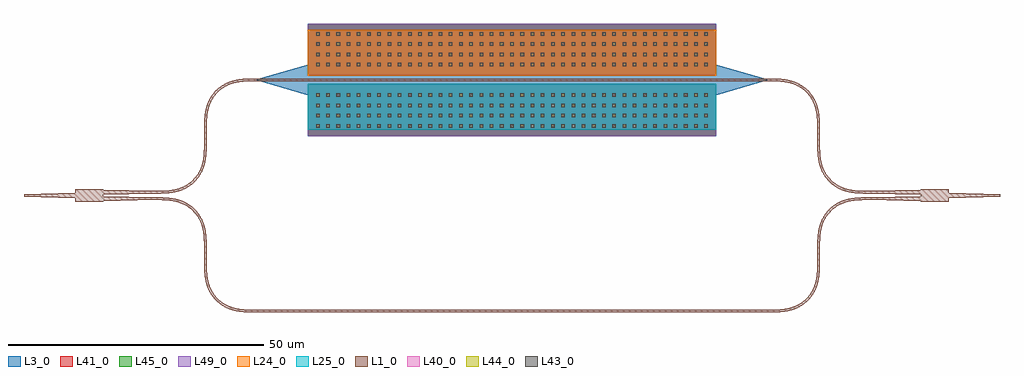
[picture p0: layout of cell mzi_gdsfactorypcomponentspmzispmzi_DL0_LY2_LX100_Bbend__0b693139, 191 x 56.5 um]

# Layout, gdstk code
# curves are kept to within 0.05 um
from math import pi, radians
import gdstk
lib = gdstk.Library(unit=1e-6, precision=1e-09)
def R(c, l, rs):  # rectangles x0, y0, x1, y1
    for r in rs: c.add(gdstk.rectangle(r[:2], r[2:], *l))
def P(c, l, *ps):  # polygons
    for p in ps: c.add(gdstk.Polygon(p, *l))
L1_0 = (1, 0)
L3_0 = (3, 0)
L24_0 = (24, 0)
L25_0 = (25, 0)
L40_0 = (40, 0)
L41_0 = (41, 0)
L43_0 = (43, 0)
L44_0 = (44, 0)
L45_0 = (45, 0)
L49_0 = (49, 0)

mmi1x2_gdsfactorypcompon = lib.new_cell('mmi1x2_gdsfactorypcomponentspmmispmmi1x2_WNone_WT1_LT10_1f097353')
P(mmi1x2_gdsfactorypcompon, L1_0, [(0,-1.25),(0,-0.5),(-10,-0.25),(-10,0.25),(0,0.5),(0,1.25),(5.5,1.25),(5.5,1.125),(15.5,0.875),(15.5,0.375),(5.5,0.125),(5.5,-0.125),(15.5,-0.375),(15.5,-0.875),(5.5,-1.125),(5.5,-1.25)])

bend_euler_gdsfactorypco = lib.new_cell('bend_euler_gdsfactorypcomponentspbendspbend_euler_RNone_387600b2')
P(bend_euler_gdsfactorypco, L1_0, [(0,-0.25),(0,0.25),(2.881,0.353),(3.952,0.52),(4.99,0.806),(6.431,1.505),(7.575,2.425),(8.495,3.569),(9.194,5.01),(9.48,6.048),(9.647,7.119),(9.75,10),(10.25,10),(10.158,7.205),(9.797,5.254),(9.457,4.312),(9.066,3.545),(8.5,2.715),(7.928,2.072),(7.285,1.5),(6.455,0.934),(5.688,0.543),(4.746,0.203),(2.795,-0.158)])

straight_gdsfactorypcomp = lib.new_cell('straight_gdsfactorypcomponentspwaveguidespstraight_L2_N_815d3d03')
R(straight_gdsfactorypcomp, L1_0, [(0,-0.25,2,0.25)])

c_straight_gdsfactorypcomp = lib.new_cell('straight_gdsfactorypcomponentspwaveguidespstraight_L80__dc82c60b')
R(c_straight_gdsfactorypcomp, L1_0, [(0,-0.25,80,0.25)])
R(c_straight_gdsfactorypcomp, L3_0, [(0,-10,80,10)])
R(c_straight_gdsfactorypcomp, L24_0, [(0,0.8,80,9.8)])
R(c_straight_gdsfactorypcomp, L25_0, [(0,-9.8,80,-0.8)])

taper_strip_to_ridge_gds = lib.new_cell('taper_strip_to_ridge_gdsfactorypcomponentsptapersptaper_eb2ac5f7')
R(taper_strip_to_ridge_gds, L1_0, [(0,-0.25,10,0.25)])
P(taper_strip_to_ridge_gds, L3_0, [(10,-3),(0,-0.075),(0,0.075),(10,3)])

compass_gdsfactorypcompo = lib.new_cell('compass_gdsfactorypcomponentspshapespcompass_S80_10_LSL_c8934731')
R(compass_gdsfactorypcompo, L3_0, [(-40,-5,40,5)])

c_compass_gdsfactorypcompo = lib.new_cell('compass_gdsfactorypcomponentspshapespcompass_S80_10_LM1_8a55a1f4')
R(c_compass_gdsfactorypcompo, L41_0, [(-40,-5,40,5)])

c_compass_gdsfactorypcompo_ = lib.new_cell('compass_gdsfactorypcomponentspshapespcompass_S80_10_LM2_11dd617a')
R(c_compass_gdsfactorypcompo_, L45_0, [(-40,-5,40,5)])

c_compass_gdsfactorypcompo__ = lib.new_cell('compass_gdsfactorypcomponentspshapespcompass_S80_10_LM3_3799dbca')
R(c_compass_gdsfactorypcompo__, L49_0, [(-40,-5,40,5)])

via_gdsfactorypcomponent = lib.new_cell('via_gdsfactorypcomponentspviaspvia_S0p7_0p7_E1_LVIAC_BL_572539c8')
R(via_gdsfactorypcomponent, L40_0, [(-0.35,-0.35,0.35,0.35)])

c_via_gdsfactorypcomponent = lib.new_cell('via_gdsfactorypcomponentspviaspvia_S0p7_0p7_E1_LVIA1_BL_0068d91e')
R(c_via_gdsfactorypcomponent, L44_0, [(-0.35,-0.35,0.35,0.35)])

c_via_gdsfactorypcomponent_ = lib.new_cell('via_gdsfactorypcomponentspviaspvia_S0p7_0p7_E1_LVIA2_BL_c51b5ebb')
R(c_via_gdsfactorypcomponent_, L43_0, [(-0.35,-0.35,0.35,0.35)])

via_stack_gdsfactorypcom = lib.new_cell('via_stack_gdsfactorypcomponentspviaspvia_stack_S80_10_L_c608bbcb')
via_stack_gdsfactorypcom.add(gdstk.Reference(compass_gdsfactorypcompo, (0,0)))
via_stack_gdsfactorypcom.add(gdstk.Reference(c_compass_gdsfactorypcompo, (0,0)))
via_stack_gdsfactorypcom.add(gdstk.Reference(c_compass_gdsfactorypcompo_, (0,0)))
via_stack_gdsfactorypcom.add(gdstk.Reference(c_compass_gdsfactorypcompo__, (0,0)))
r = gdstk.Reference(via_gdsfactorypcomponent, (-38,-3)); r.repetition = gdstk.Repetition(39, 4, v1=(2,0), v2=(0,2)); via_stack_gdsfactorypcom.add(r)
r = gdstk.Reference(c_via_gdsfactorypcomponent, (-38,-3)); r.repetition = gdstk.Repetition(39, 4, v1=(2,0), v2=(0,2)); via_stack_gdsfactorypcom.add(r)
r = gdstk.Reference(c_via_gdsfactorypcomponent_, (-38,-3)); r.repetition = gdstk.Repetition(39, 4, v1=(2,0), v2=(0,2)); via_stack_gdsfactorypcom.add(r)

straight_pin_gdsfactoryp = lib.new_cell('straight_pin_gdsfactorypcomponentspwaveguidespstraight__0ad6f6a7')
straight_pin_gdsfactoryp.add(gdstk.Reference(c_straight_gdsfactorypcomp, (0,0)))
straight_pin_gdsfactoryp.add(gdstk.Reference(taper_strip_to_ridge_gds, (-10,0)))
straight_pin_gdsfactoryp.add(gdstk.Reference(taper_strip_to_ridge_gds, (90,0), rotation=pi))
straight_pin_gdsfactoryp.add(gdstk.Reference(via_stack_gdsfactorypcom, (40,6)))
straight_pin_gdsfactoryp.add(gdstk.Reference(via_stack_gdsfactorypcom, (40,-6)))

c_straight_gdsfactorypcomp_ = lib.new_cell('straight_gdsfactorypcomponentspwaveguidespstraight_L100_fb22af26')
R(c_straight_gdsfactorypcomp_, L1_0, [(0,-0.25,100,0.25)])

mzi_gdsfactorypcomponent = lib.new_cell('mzi_gdsfactorypcomponentspmzispmzi_DL0_LY2_LX100_Bbend__0b693139')
mzi_gdsfactorypcomponent.add(gdstk.Reference(mmi1x2_gdsfactorypcompon, (0,0)))
mzi_gdsfactorypcomponent.add(gdstk.Reference(bend_euler_gdsfactorypco, (15.5,-0.625), x_reflection=True))
mzi_gdsfactorypcomponent.add(gdstk.Reference(bend_euler_gdsfactorypco, (25.5,-12.625), rotation=3*pi/2))
mzi_gdsfactorypcomponent.add(gdstk.Reference(bend_euler_gdsfactorypco, (15.5,0.625)))
mzi_gdsfactorypcomponent.add(gdstk.Reference(bend_euler_gdsfactorypco, (35.5,22.625), rotation=pi))
mzi_gdsfactorypcomponent.add(gdstk.Reference(bend_euler_gdsfactorypco, (145.5,12.625), rotation=pi/2))
mzi_gdsfactorypcomponent.add(gdstk.Reference(bend_euler_gdsfactorypco, (145.5,10.625), rotation=3*pi/2))
mzi_gdsfactorypcomponent.add(gdstk.Reference(bend_euler_gdsfactorypco, (135.5,-22.625)))
mzi_gdsfactorypcomponent.add(gdstk.Reference(bend_euler_gdsfactorypco, (155.5,-0.625), rotation=pi))
mzi_gdsfactorypcomponent.add(gdstk.Reference(straight_gdsfactorypcomp, (25.5,10.625), rotation=pi/2))
mzi_gdsfactorypcomponent.add(gdstk.Reference(straight_gdsfactorypcomp, (25.5,-10.625), rotation=3*pi/2))
mzi_gdsfactorypcomponent.add(gdstk.Reference(straight_pin_gdsfactoryp, (45.5,22.625)))
mzi_gdsfactorypcomponent.add(gdstk.Reference(c_straight_gdsfactorypcomp_, (35.5,-22.625)))
mzi_gdsfactorypcomponent.add(gdstk.Reference(mmi1x2_gdsfactorypcompon, (171,0), rotation=pi, x_reflection=True))
mzi_gdsfactorypcomponent.add(gdstk.Reference(straight_gdsfactorypcomp, (145.5,10.625), rotation=pi/2))
mzi_gdsfactorypcomponent.add(gdstk.Reference(straight_gdsfactorypcomp, (145.5,-12.625), rotation=pi/2))

lib.write_gds('mzi_gdsfactorypcomponentspmzispmzi_DL0_LY2_LX100_Bbend__0b693139.gds')
